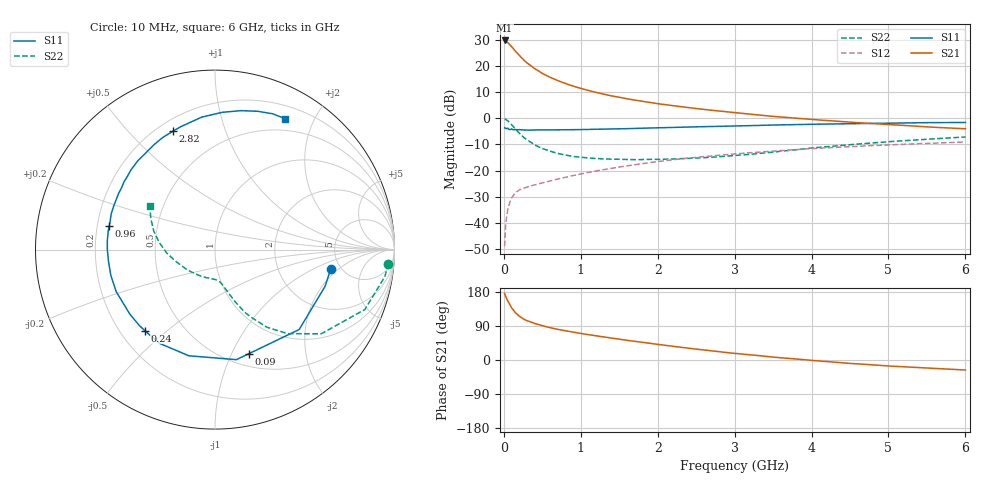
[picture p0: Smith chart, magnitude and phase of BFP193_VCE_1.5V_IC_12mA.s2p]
! Infineon Technologies  Discrete & RF Semiconductors
! BFP193
! VCE = 1.5 V,  IC =  12 mA
! Common Emitter S-Parameters:  Jan 2016
# GHz  S  MA  R  50
!  f  S11  S21  S12  S22
! GHz  MAG  ANG  MAG  ANG  MAG  ANG  MAG  ANG
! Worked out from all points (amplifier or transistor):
!   210 points, 10 MHz to 6 GHz, reference 50 ohm
!   highest |S21| = 29.7 dB at 10 MHz (marker M1)
!   |S21| within 3 dB of that: start of sweep to 119.6 MHz
!   unconditionally stable (mu >= 1): 894.7 MHz to 3.839 GHz
!   at 185 MHz: K = 0.37, MSG = 26.1 dB, |S12| = -27.7 dB
!   at 1.52 GHz: K = 1.10, MAG = 11.3 dB, |S12| = -18.6 dB
!   at 6 GHz: K = 0.93, MSG = 2.5 dB, |S12| = -9.1 dB
!   S11 on the Smith chart (normalised r, x): 10 MHz: 4.16, -1.57; 90 MHz: 0.63, -1.17; 240 MHz: 0.30, -0.42; 960 MHz: 0.25, +0.11; 2.82 GHz: 0.26, +0.67; 6 GHz: 0.35, +1.62
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0.01  0.6538 -9.5  30.5 175.6  0.0036 86.1  0.9692 -4.6
0.02  0.6465 -18.4  29.8 169.4  0.0075 78.7  0.9581 -9.1
0.05  0.6468 -43.5  27.97 156.0  0.0178 70.8  0.8989 -21.8
0.09  0.6098 -71.9  24.14 141.9  0.0275 60.1  0.7782 -34.6
0.1  0.6248 -79.0  23.46 137.8  0.03 58.5  0.7553 -38.4
0.15  0.6093 -103.9  19.05 124.4  0.0377 50.1  0.6198 -49.1
0.2  0.6071 -120.8  15.83 115.4  0.0426 45.9  0.519 -56.3
0.24  0.5978 -130.9  13.74 110.2  0.0449 44.1  0.4556 -60.0
0.26  0.5966 -135.3  12.86 107.7  0.0461 43.6  0.4294 -61.7
0.3  0.5953 -142.7  11.39 103.7  0.0483 43.0  0.3871 -64.6
0.4  0.5982 -156.8  8.859 96.3  0.0532 43.5  0.3096 -69.0
0.5  0.5978 -166.0  7.163 90.4  0.0579 44.4  0.2631 -71.9
0.7  0.5998 180.0  5.226 80.8  0.0688 46.8  0.2126 -76.3
0.96  0.6039 167.2  3.855 71.5  0.0837 49.4  0.1822 -81.4
1.02  0.6058 164.5  3.635 69.5  0.0872 49.7  0.1786 -82.7
1.4  0.6216 149.9  2.663 57.8  0.1102 49.8  0.1659 -92.0
2.02  0.6557 130.6  1.878 40.8  0.1496 46.7  0.1636 -111.4
2.82  0.7005 109.5  1.36 21.5  0.1976 39.7  0.185 -140.0
3.1  0.7154 103.5  1.236 15.6  0.2135 36.8  0.1988 -149.7
4.1  0.7692 85.4  0.924 -2.6  0.2673 26.5  0.277 -178.4
5.1  0.8089 71.7  0.74 -16.8  0.3134 15.7  0.364 161.2
6  0.8279 61.7  0.628 -26.4  0.3517 6.0  0.4373 146.1
